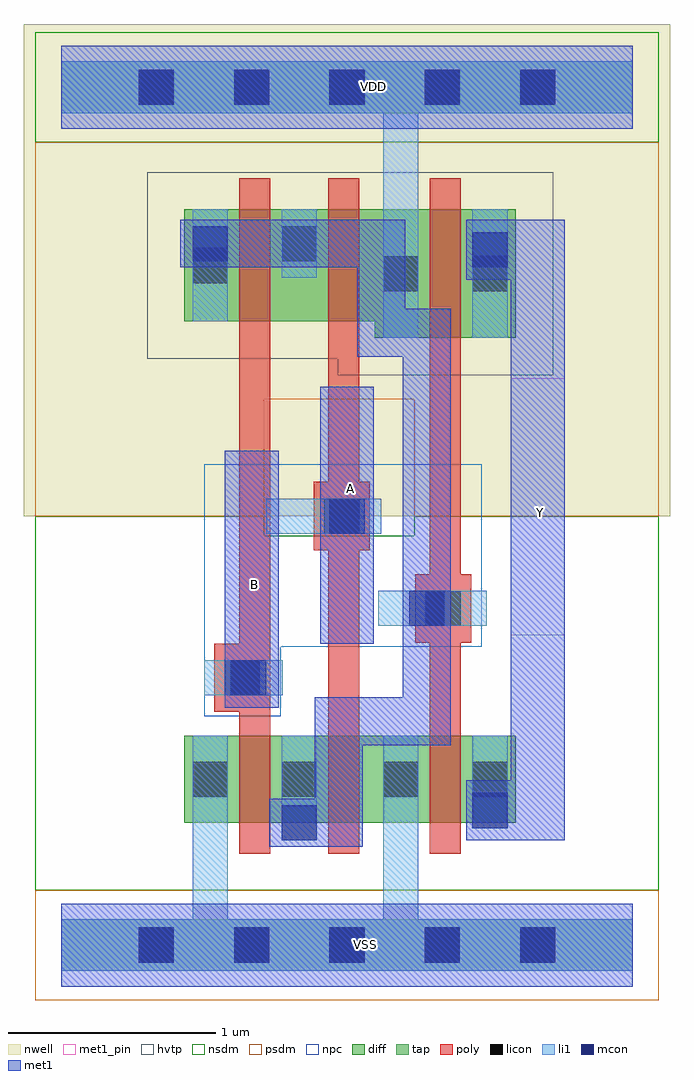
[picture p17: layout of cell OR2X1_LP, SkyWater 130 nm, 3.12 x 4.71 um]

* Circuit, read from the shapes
.subckt OR2X1_LP A B VDD VSS Y
XM1 n1 B VSS VSS sky130_fd_pr__nfet_01v8 w=0.42 l=0.15
XM2 VSS A n1 VSS sky130_fd_pr__nfet_01v8 w=0.42 l=0.15
XM3 Y n1 VSS VSS sky130_fd_pr__nfet_01v8 w=0.42 l=0.15
XM4 n2 B n1 VDD sky130_fd_pr__pfet_01v8_hvt w=0.54 l=0.15
XM5 VDD A n2 VDD sky130_fd_pr__pfet_01v8_hvt w=0.54 l=0.15
XM6 Y n1 VDD VDD sky130_fd_pr__pfet_01v8_hvt w=0.62 l=0.15
.ends

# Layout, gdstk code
from math import pi, radians
import gdstk
lib = gdstk.Library(unit=1e-6, precision=1e-09)
def R(c, l, rs):  # rectangles x0, y0, x1, y1
    for r in rs: c.add(gdstk.rectangle(r[:2], r[2:], *l))
def A(c, l, x, y, w, h, nx, ny, dx, dy):  # array of equal rectangles
    R(c, l, [(x+i*dx, y+j*dy, x+i*dx+w, y+j*dy+h) for i in range(nx) for j in range(ny)])
def P(c, l, *ps):  # polygons
    for p in ps: c.add(gdstk.Polygon(p, *l))
nwell = (64, 20)
diff = (65, 20)
tap = (65, 44)
poly = (66, 20)
licon = (66, 44)
li1 = (67, 20)
mcon = (67, 44)
met1_pin = (68, 16)
met1 = (68, 20)
hvtp = (78, 44)
nsdm = (93, 44)
psdm = (94, 20)
npc = (95, 20)

l1m1_c_cdns_795853916192 = lib.new_cell('L1M1_C_CDNS_7958539161920')
R(l1m1_c_cdns_795853916192, li1, [(-0.085,-0.085,0.085,0.165)])
R(l1m1_c_cdns_795853916192, mcon, [(-0.085,-0.085,0.085,0.085)])
R(l1m1_c_cdns_795853916192, met1, [(-0.145,-0.115,0.145,0.115)])

lilicon_c_cdns_795853916 = lib.new_cell('LILICON_C_CDNS_7958539161921')
R(lilicon_c_cdns_795853916, licon, [(-0.085,-0.085,0.085,0.085), (-0.085,-0.085,0.085,0.085)])
R(lilicon_c_cdns_795853916, li1, [(-0.085,-0.165,0.085,0.165)])

l1m1_c_cdns_795853916197 = lib.new_cell('L1M1_C_CDNS_795853916197')
R(l1m1_c_cdns_795853916197, li1, [(-0.085,-0.165,0.085,0.165)])
R(l1m1_c_cdns_795853916197, mcon, [(-0.085,-0.085,0.085,0.085)])
R(l1m1_c_cdns_795853916197, met1, [(-0.115,-0.145,0.115,0.145)])

l1m1_c_cdns_795853916198 = lib.new_cell('L1M1_C_CDNS_795853916198')
R(l1m1_c_cdns_795853916198, li1, [(-0.085,-0.165,0.085,0.165)])
R(l1m1_c_cdns_795853916198, mcon, [(-0.085,-0.085,0.085,0.085)])
R(l1m1_c_cdns_795853916198, met1, [(-0.145,-0.115,0.145,0.115)])

pyl1con_c_cdns_795853916 = lib.new_cell('PYL1CON_C_CDNS_795853916195')
R(pyl1con_c_cdns_795853916, poly, [(-0.135,-0.165,0.135,0.165)])
R(pyl1con_c_cdns_795853916, licon, [(-0.085,-0.085,0.085,0.085)])
R(pyl1con_c_cdns_795853916, npc, [(-0.185,-0.185,0.185,0.185)])

l1m1_c_cdns_795853916194 = lib.new_cell('L1M1_C_CDNS_795853916194')
R(l1m1_c_cdns_795853916194, li1, [(-0.165,-0.085,0.165,0.085)])
R(l1m1_c_cdns_795853916194, mcon, [(-0.085,-0.085,0.085,0.085)])
R(l1m1_c_cdns_795853916194, met1, [(-0.115,-0.145,0.115,0.145)])

c_l1m1_c_cdns_795853916192 = lib.new_cell('L1M1_C_CDNS_7958539161922')
R(c_l1m1_c_cdns_795853916192, li1, [(-0.085,-0.085,0.085,0.165)])
R(c_l1m1_c_cdns_795853916192, mcon, [(-0.085,-0.085,0.085,0.085)])
R(c_l1m1_c_cdns_795853916192, met1, [(-0.115,-0.145,0.115,0.145)])

or2x1_lp = lib.new_cell('OR2X1_LP')
R(or2x1_lp, nwell, [(-0.18,2.07,2.94,4.445)])
R(or2x1_lp, diff, [(0.595,0.59,2.195,1.01)])
P(or2x1_lp, diff, [(1.515,2.93),(1.515,3.01),(0.595,3.01),(0.595,3.55),(2.195,3.55),(2.195,2.93)])
R(or2x1_lp, poly, [(0.86,0.44,1.01,1.16), (1.29,0.44,1.44,3.7), (1.78,0.44,1.93,3.7), (0.86,1.165,1.01,3.7)])
A(or2x1_lp, licon, 0.375, -0.085, 0.17, 0.17, 5, 2, 0.46, 4.14)
R(or2x1_lp, licon, [(0.635,0.715,0.805,0.885), (1.065,0.715,1.235,0.885), (1.555,0.715,1.725,0.885), (1.985,0.715,2.155,0.885), (1.555,3.155,1.725,3.325), (1.985,3.155,2.155,3.325), (0.635,3.195,0.805,3.365)])
R(or2x1_lp, li1, [(1.065,0.59,1.235,1.01), (1.985,0.59,2.155,1.01), (1.985,2.93,2.155,3.55), (0.635,3.01,0.805,3.55)])
P(or2x1_lp, li1, [(1.555,2.93),(1.555,4.015),(0,4.015),(0,4.265),(2.76,4.265),(2.76,4.015),(1.725,4.015),(1.725,2.93)],
  [(0,-0.125),(0,0.125),(0.635,0.125),(0.635,1.01),(0.805,1.01),(0.805,0.125),(1.555,0.125),(1.555,1.01),(1.725,1.01),(1.725,0.125),(2.76,0.125),(2.76,-0.125)])
A(or2x1_lp, mcon, 0.375, -0.085, 0.17, 0.17, 5, 2, 0.46, 4.14)
R(or2x1_lp, met1_pin, [(0.79,1.145,1.05,2.385), (1.25,1.455,1.51,2.695), (2.17,1.495,2.43,2.735)])
P(or2x1_lp, hvtp, [(1.335,2.75),(1.335,2.83),(0.415,2.83),(0.415,3.73),(2.375,3.73),(2.375,2.75)])
R(or2x1_lp, nsdm, [(-0.125,3.875,2.885,4.405)])
P(or2x1_lp, nsdm, [(-0.125,0.265),(-0.125,2.07),(0.98,2.07),(0.98,1.975),(1.705,1.975),(1.705,2.07),(2.885,2.07),(2.885,0.265)])
R(or2x1_lp, psdm, [(-0.125,-0.265,2.885,0.265)])
P(or2x1_lp, psdm, [(-0.125,2.07),(-0.125,3.875),(2.885,3.875),(2.885,2.07),(1.705,2.07),(1.705,2.635),(0.98,2.635),(0.98,2.07)])
P(or2x1_lp, npc, [(0.69,1.105),(0.69,2.32),(2.03,2.32),(2.03,1.44),(0.91,1.44),(0.91,1.105)])
or2x1_lp.add(gdstk.FlexPath([(0,4.14),(2.76,4.14)], 0.4, ends="flush", simple_path=True, layer=68, datatype=20))  # met1
or2x1_lp.add(gdstk.FlexPath([(0,0),(2.76,0)], 0.4, ends="flush", simple_path=True, layer=68, datatype=20))  # met1
or2x1_lp.add(gdstk.FlexPath([(1.34,0.475),(1.34,1.08),(1.765,1.08),(1.765,2.955),(1.545,2.955),(1.545,3.385),(0.735,3.385)], 0.23, ends="flush", simple_path=True, layer=68, datatype=20))  # met1
or2x1_lp.add(gdstk.FlexPath([(1.38,1.455),(1.38,2.695)], 0.26, ends="flush", simple_path=True, layer=68, datatype=20))  # met1
or2x1_lp.add(gdstk.FlexPath([(0.92,1.145),(0.92,2.385)], 0.26, ends="flush", simple_path=True, layer=68, datatype=20))  # met1
or2x1_lp.add(gdstk.FlexPath([(2.3,0.505),(2.3,3.5)], 0.26, ends="flush", simple_path=True, layer=68, datatype=20))  # met1
or2x1_lp.add(gdstk.FlexPath([(0.905,1.29),(0.69,1.29)], 0.17, ends="flush", simple_path=True, layer=67, datatype=20))  # li1
or2x1_lp.add(gdstk.FlexPath([(1.52,2.07),(0.99,2.07)], 0.17, ends="flush", simple_path=True, layer=67, datatype=20))  # li1
or2x1_lp.add(gdstk.FlexPath([(2.055,1.625),(1.53,1.625)], 0.17, ends="flush", simple_path=True, layer=67, datatype=20))  # li1
or2x1_lp.add(gdstk.FlexPath([(0,4.14),(2.76,4.14)], 0.25, ends="flush", simple_path=True, layer=65, datatype=44))  # tap
or2x1_lp.add(gdstk.FlexPath([(0,0),(2.76,0)], 0.25, ends="flush", simple_path=True, layer=65, datatype=44))  # tap
or2x1_lp.add(gdstk.FlexPath([(0,0),(2.76,0)], 0.4, ends="flush", simple_path=True, layer=68, datatype=16))  # met1_pin
or2x1_lp.add(gdstk.FlexPath([(0,4.14),(2.76,4.14)], 0.4, ends="flush", simple_path=True, layer=68, datatype=16))  # met1_pin
or2x1_lp.add(gdstk.Reference(l1m1_c_cdns_795853916192, (1.15,0.59)))
or2x1_lp.add(gdstk.Reference(lilicon_c_cdns_795853916, (1.15,3.385)))
or2x1_lp.add(gdstk.Reference(l1m1_c_cdns_795853916197, (2.07,3.355)))
or2x1_lp.add(gdstk.Reference(l1m1_c_cdns_795853916198, (0.905,1.29), rotation=pi/2))
or2x1_lp.add(gdstk.Reference(l1m1_c_cdns_795853916198, (0.72,3.385)))
or2x1_lp.add(gdstk.Reference(pyl1con_c_cdns_795853916, (1.355,2.07)))
or2x1_lp.add(gdstk.Reference(pyl1con_c_cdns_795853916, (1.845,1.625)))
or2x1_lp.add(gdstk.Reference(pyl1con_c_cdns_795853916, (0.875,1.29)))
or2x1_lp.add(gdstk.Reference(l1m1_c_cdns_795853916194, (1.765,1.625)))
or2x1_lp.add(gdstk.Reference(l1m1_c_cdns_795853916194, (1.38,2.07), x_reflection=True))
or2x1_lp.add(gdstk.Reference(c_l1m1_c_cdns_795853916192, (2.07,0.65)))
or2x1_lp.add(gdstk.Label('VDD', (1.51,4.145), layer=68, texttype=5))
or2x1_lp.add(gdstk.Label('A', (1.395,2.205), layer=68, texttype=5))
or2x1_lp.add(gdstk.Label('B', (0.935,1.74), layer=68, texttype=5))
or2x1_lp.add(gdstk.Label('VSS', (1.47,0.005), layer=68, texttype=5))
or2x1_lp.add(gdstk.Label('Y', (2.315,2.09), layer=68, texttype=5))

lib.write_gds('OR2X1_LP.gds')
